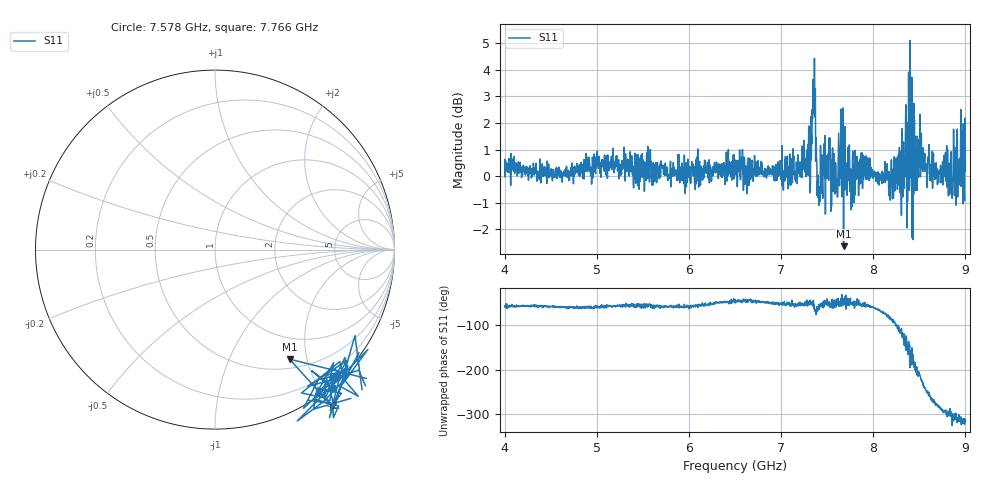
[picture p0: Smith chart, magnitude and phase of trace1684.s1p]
! Created with skrf 1.8.0 (http://scikit-rf.org).
# Hz S RI R 50.0
!freq ReS11 ImS11
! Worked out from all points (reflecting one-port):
!   1601 points, 4 GHz to 9 GHz, reference 50 ohm
!   lowest |S11| = -2.6 dB at 7.678 GHz (marker M1), VSWR 6.63, Z = 31.9 - j85.4 ohm
!   phase of S11 starts at -58 deg and turns -256 deg over the sweep
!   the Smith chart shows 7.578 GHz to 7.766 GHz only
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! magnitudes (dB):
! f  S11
! 4 GHz  0.6
! 4.625 GHz  -0.2
! 5.25 GHz  0.1
! 5.875 GHz  0.2
! 6.5 GHz  0.2
! 7.125 GHz  0.6
! 7.294 GHz  0.0
! 7.347 GHz  3.6
! 7.362 GHz  4.4
! 7.4 GHz  0.0
! 7.412 GHz  -0.4
! 7.509 GHz  0.6
! 7.591 GHz  0.5
! 7.647 GHz  1.4
! 7.678 GHz  -2.6
! 7.75 GHz  -0.1
! 7.891 GHz  0.4
! 8.194 GHz  -0.1
! 8.316 GHz  0.2
! 8.375 GHz  0.3
! 8.394 GHz  0.3
! 8.447 GHz  2.1
! 8.459 GHz  -0.5
! 8.503 GHz  0.7
! 8.688 GHz  0.0
! 8.841 GHz  0.8
! 8.972 GHz  0.0
! 9 GHz  0.2
